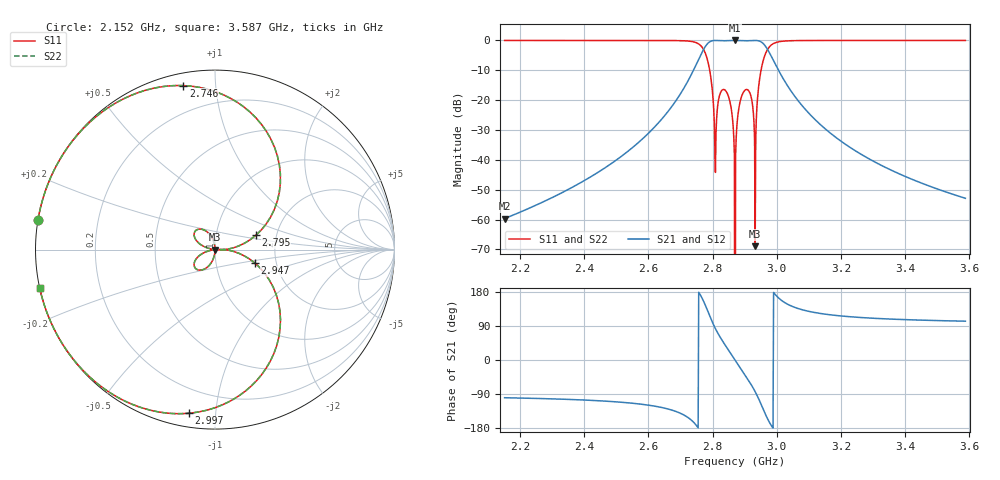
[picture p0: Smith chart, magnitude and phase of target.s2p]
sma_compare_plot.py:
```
"""Combined |S11|/|S21| comparison: Palace with vs without the SMA coax
launch, plus the CST result on the same (optimized) design and the Chebyshev
synthesis target. Answers the professor's question with real S-parameter data
instead of an idealized microstrip port.

Run:  uv run python scripts/sma_compare_plot.py
Reads output/data/sma_compare.npz (from scripts/sma_compare_run.py),
docs/swi_CST_data.txt, output/s2p/target.s2p.
Writes output/imgs/sma_connector_compare.png
"""
from __future__ import annotations

import os
import sys

import numpy as np
import matplotlib
matplotlib.use("Agg")
import matplotlib.pyplot as plt
import skrf as rf

sys.path.insert(0, os.path.join(os.path.dirname(__file__), "..", "src"))
from siwfilter.config import out_data, out_img, out_s2p, data_path  # noqa: E402

# fixed categorical colors, reused from report.py's established convention
C_TARGET = "#808080"   # gray, dotted — synthesis target (neutral reference)
C_CST = "#2ca02c"      # green — CST (same hue meaning as report.py)
C_NOSMA = "#1f77b4"    # blue — Palace, idealized microstrip port (baseline)
C_SMA = "#d62728"      # red — Palace, real SMA coax launch (the new result)


def _db(x):
    return 20 * np.log10(np.clip(np.abs(x), 1e-6, None))


def _parse_cst_blocks(path: str):
    rows = []
    with open(path) as fh:
        for line in fh:
            s = line.strip()
            if not s or s.startswith("#"):
                rows.append(None)
                continue
            a, b = s.split()
            rows.append((float(a), float(b)))
    data = [r for r in rows if r]
    blk = [[]]
    prev = -1.0
    for fr, v in data:
        if fr < prev - 1e-9:
            blk.append([])
        blk[-1].append((fr, v))
        prev = fr
    return np.array(blk[0]), np.array(blk[1])


def main():
    npz_path = out_data("sma_compare.npz")
    if not os.path.exists(npz_path):
        print(f"missing {npz_path} -- run scripts/sma_compare_run.py first")
        return 1
    d = np.load(npz_path)

    have_without = "sma_cmp_without_f" in d
    have_with = "sma_cmp_with_f" in d
    if not (have_without or have_with):
        print("npz has neither run's data")
        return 1

    tgt = rf.Network(out_s2p("target.s2p"))
    cst_txt = data_path("docs", "swi_CST_data.txt")
    have_cst = os.path.exists(cst_txt)
    if have_cst:
        cst_s11, cst_s21 = _parse_cst_blocks(cst_txt)

    fig, ax = plt.subplots(2, 1, figsize=(9, 7.5), sharex=True)

    ax[0].plot(tgt.f / 1e9, _db(tgt.s[:, 0, 0]), ":", color=C_TARGET, lw=1.5,
              label="Chebyshev target (synthesis)")
    if have_cst:
        ax[0].plot(cst_s11[:, 0], cst_s11[:, 1], "-", color=C_CST, lw=1.6,
                  label="CST (optimized design)")
    if have_without:
        ax[0].plot(d["sma_cmp_without_f"], _db(d["sma_cmp_without_s11"]), "-",
                  color=C_NOSMA, lw=1.8, label="Palace, microstrip port (no connector)")
    if have_with:
        ax[0].plot(d["sma_cmp_with_f"], _db(d["sma_cmp_with_s11"]), "-",
                  color=C_SMA, lw=2, label="Palace, SMA coax launch")
    ax[0].set_ylabel("|S11| (dB)"); ax[0].set_ylim(-40, 3); ax[0].grid(alpha=.3)
    ax[0].axvline(2.87, color="k", ls=":", lw=.8)
    ax[0].axhline(-16, color="grey", ls="--", lw=.7, alpha=.5)
    ax[0].legend(fontsize=8, loc="lower left")
    ax[0].set_title("Effect of a real SMA coax launch vs an idealized microstrip port")

    ax[1].plot(tgt.f / 1e9, _db(tgt.s[:, 1, 0]), ":", color=C_TARGET, lw=1.5,
              label="Chebyshev target")
    if have_cst:
        ax[1].plot(cst_s21[:, 0], cst_s21[:, 1], "-", color=C_CST, lw=1.6, label="CST")
    if have_without:
        ax[1].plot(d["sma_cmp_without_f"], _db(d["sma_cmp_without_s21"]), "-",
                  color=C_NOSMA, lw=1.8, label="Palace, no connector")
    if have_with:
        ax[1].plot(d["sma_cmp_with_f"], _db(d["sma_cmp_with_s21"]), "-",
                  color=C_SMA, lw=2, label="Palace, SMA coax launch")
    ax[1].set_ylabel("|S21| (dB)"); ax[1].set_xlabel("Frequency (GHz)")
    ax[1].set_xlim(2.5, 3.2); ax[1].set_ylim(-60, 3); ax[1].grid(alpha=.3)
    ax[1].axvline(2.87, color="k", ls=":", lw=.8)
    ax[1].legend(fontsize=8, loc="lower center")

    out = out_img("sma_connector_compare.png")
    fig.tight_layout(); fig.savefig(out, dpi=140)
    print(f"wrote {out}")

    # quick numeric summary
    if have_without and have_with:
        band = (2.80, 2.94)
        for name, f, s11 in (("no-connector", d["sma_cmp_without_f"], d["sma_cmp_without_s11"]),
                             ("SMA launch", d["sma_cmp_with_f"], d["sma_cmp_with_s11"])):
            m = (f >= band[0]) & (f <= band[1])
            worst = _db(s11[m]).max() if m.any() else float("nan")
            print(f"  {name}: worst in-band S11 [{band[0]}-{band[1]} GHz] = {worst:.1f} dB")
    return 0


if __name__ == "__main__":
    raise SystemExit(main())
```
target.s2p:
! Created with skrf 1.12.0 (http://scikit-rf.org).
! Data is not renormalized
! S-parameter uses the power definition
# Hz S RI R
!freq ReS11 ImS11 ReS21 ImS21 ReS12 ImS12 ReS22 ImS22
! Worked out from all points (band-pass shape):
!   801 points, 2.152 GHz to 3.587 GHz, reference per port
!   highest |S21| = 0.00 dB at 2.87 GHz (marker M1); lowest = -59.7 dB at 2.152 GHz (marker M2)
!   |S21| within 3 dB of the highest: 2.772 GHz to 2.971 GHz (199.2 MHz wide, 6.94 % of centre)
!   lowest |S11| = -68.9 dB at 2.933 GHz (marker M3), VSWR 1.00
!   |S11| at or under -10 dB: 2.791 GHz to 2.951 GHz (159.8 MHz wide, 5.57 % of centre)
!   |S22| runs from - to 0.0 dB; largest |S21 - S12| = 0
!   S11 on the Smith chart (normalised r, x): 2.152 GHz: 0.00, +0.08; 2.746 GHz: 0.06, +0.82; 2.795 GHz: 1.56, +0.26; 2.947 GHz: 1.55, -0.25; 2.997 GHz: 0.07, -0.85; 3.587 GHz: 0.00, -0.11
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2.1525e9  -0.9861 0.1661  -0.000172 -0.00102  -0.000172 -0.00102  -0.9861 0.1661
! Port Impedance 50.00000000000000 0.00000000000000 50.00000000000000 0.00000000000000
2.746231e9  -0.1767 0.9137  -0.3593 -0.0695  -0.3593 -0.0695  -0.1767 0.9137
2.794662e9  0.2276 0.0797  -0.3206 0.916  -0.3206 0.916  0.2276 0.0797
2.809012e9  -0.0061 0.000776  0.1261 0.992  0.1261 0.992  -0.0061 0.000776
2.848475e9  -0.0558 0.1066  0.8797 0.46  0.8797 0.46  -0.0558 0.1066
2.87e9  0 0  1 -0  1 -0  0 0
2.900494e9  -0.0913 -0.1138  0.7717 -0.6191  0.7717 -0.6191  -0.0913 -0.1138
2.932781e9  -0.000355 -4.04e-05  0.1131 -0.9936  0.1131 -0.9936  -0.000355 -4.04e-05
2.947131e9  0.2237 -0.0763  -0.3137 -0.9196  -0.3137 -0.9196  0.2237 -0.0763
2.997356e9  -0.1462 -0.9118  -0.379 0.0608  -0.379 0.0608  -0.1462 -0.9118
3.5875e9  -0.9766 -0.2152  -0.000488 0.00221  -0.000488 0.00221  -0.9766 -0.2152
